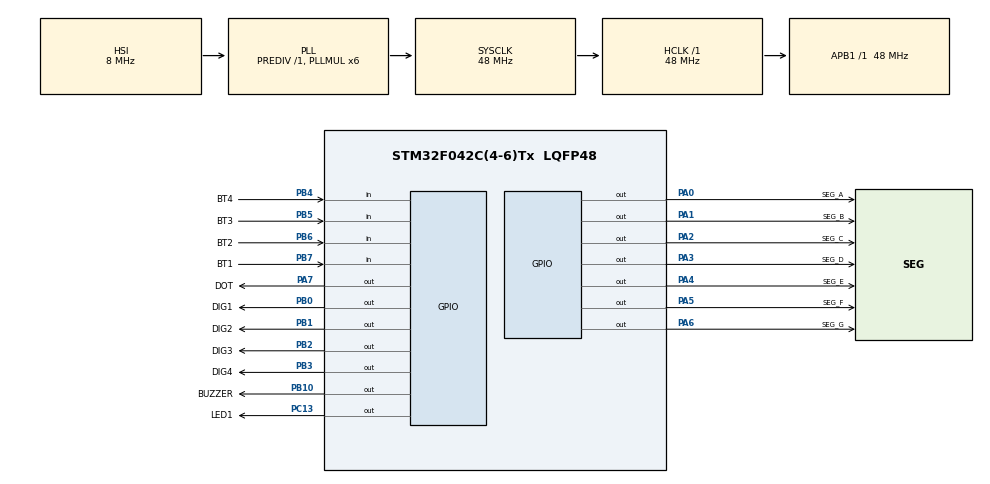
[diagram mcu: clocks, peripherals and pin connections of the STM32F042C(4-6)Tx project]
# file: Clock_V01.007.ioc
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IWDG.Prescaler=IWDG_PRESCALER_8
Mcu.Family=STM32F0
Mcu.Name=STM32F042C(4-6)Tx
Mcu.Package=LQFP48
NVIC.RTC_IRQn=true\:0\:0\:false\:false\:true\:true\:true\:true
NVIC.TIM17_IRQn=true\:0\:0\:false\:false\:true\:true\:true\:true
NVIC.TIM2_IRQn=true\:0\:0\:false\:false\:true\:true\:true\:true
NVIC.TIM3_IRQn=true\:0\:0\:false\:false\:true\:true\:true\:true
PA0.GPIO_Label=SEG_A
PA0.Signal=GPIO_Output
PA1.GPIO_Label=SEG_B
PA1.Signal=GPIO_Output
PA13.Mode=Serial_Wire
PA13.Signal=SYS_SWDIO
PA14.Mode=Serial_Wire
PA14.Signal=SYS_SWCLK
PA2.GPIO_Label=SEG_C
PA2.Signal=GPIO_Output
PA3.GPIO_Label=SEG_D
PA3.Signal=GPIO_Output
PA4.GPIO_Label=SEG_E
PA4.Signal=GPIO_Output
PA5.GPIO_Label=SEG_F
PA5.Signal=GPIO_Output
PA6.GPIO_Label=SEG_G
PA6.Signal=GPIO_Output
PA7.GPIO_Label=DOT
PA7.Signal=GPIO_Output
PB0.GPIO_Label=DIG1
PB0.Signal=GPIO_Output
PB1.GPIO_Label=DIG2
PB1.Signal=GPIO_Output
PB10.GPIO_Label=BUZZER
PB10.PinState=GPIO_PIN_SET
PB10.Signal=GPIO_Output
PB2.GPIO_Label=DIG3
PB2.Signal=GPIO_Output
PB3.GPIO_Label=DIG4
PB3.Signal=GPIO_Output
PB4.GPIO_Label=BT4
PB4.Signal=GPIO_Input
PB5.GPIO_Label=BT3
PB5.Signal=GPIO_Input
PB6.GPIO_Label=BT2
PB6.Signal=GPIO_Input
PB7.GPIO_Label=BT1
PB7.Signal=GPIO_Input
PC13.GPIO_Label=LED1
PC13.Signal=GPIO_Output
PC14OSC32_IN.Mode=LSE-External-Oscillator
PC14OSC32_IN.Signal=RCC_OSC32_IN
PC15OSC32_OUT.Mode=LSE-External-Oscillator
PC15OSC32_OUT.Signal=RCC_OSC32_OUT
PF0-OSC_IN.Mode=HSE-External-Oscillator
PF0-OSC_IN.Signal=RCC_OSC_IN
PF1-OSC_OUT.Mode=HSE-External-Oscillator
PF1-OSC_OUT.Signal=RCC_OSC_OUT
ProjectManager.HeapSize=0x200
ProjectManager.StackSize=0x400
ProjectManager.TargetToolchain=STM32CubeIDE
RCC.AHBFreq_Value=48000000
RCC.APB1Freq_Value=48000000
RCC.APB1TimFreq_Value=48000000
RCC.HCLKFreq_Value=48000000
RCC.HSE_VALUE=32000000
RCC.PLLMUL=RCC_PLL_MUL6
RCC.RTCClockSelection=RCC_RTCCLKSOURCE_LSE
RCC.SYSCLKFreq_VALUE=48000000
RCC.SYSCLKSource=RCC_SYSCLKSOURCE_PLLCLK
RTC.Alarm-Alarm\ A=RTC_ALARM_A
RTC.AlarmDateWeekDaySel-Alarm\ A=RTC_ALARMDATEWEEKDAYSEL_WEEKDAY
TIM17.Period=63999
TIM17.Prescaler=11249
TIM2.AutoReloadPreload=TIM_AUTORELOAD_PRELOAD_ENABLE
TIM2.Period=47999
TIM2.Prescaler=1
TIM3.Period=63999
TIM3.Prescaler=74
VP_IWDG_VS_IWDG.Mode=IWDG_Activate
VP_RTC_VS_RTC_Activate.Mode=RTC_Enabled
VP_RTC_VS_RTC_Alarm_A_Intern.Mode=Alarm A
VP_RTC_VS_RTC_Calendar.Mode=RTC_Calendar
VP_TIM17_VS_ClockSourceINT.Mode=Enable_Timer
VP_TIM2_VS_ClockSourceINT.Mode=Internal
VP_TIM3_VS_ClockSourceINT.Mode=Internal
board=custom

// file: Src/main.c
/* USER CODE BEGIN Header */
/**
  ******************************************************************************
  * @file           : main.c
  * @brief          : Main program body
  ******************************************************************************
  * @attention
  *
  * Copyright (c) 2022 STMicroelectronics.
  * All rights reserved.
  *
  * This software is licensed under terms that can be found in the LICENSE file
  * in the root directory of this software component.
  * If no LICENSE file comes with this software, it is provided AS-IS.
  *
  ******************************************************************************
  */
/* USER CODE END Header */
#include "main.h"

/* USER CODE BEGIN Includes */
#include "Display.h"
#include "Menu.h"
#include "stm32fxxx_hal.h"
#include "defines.h"
#include "tm_stm32_delay.h"
#include "tm_stm32_onewire.h"
#include "tm_stm32_ds18b20.h"
/* USER CODE END Includes */

IWDG_HandleTypeDef hiwdg;

RTC_HandleTypeDef hrtc;

TIM_HandleTypeDef htim2;
TIM_HandleTypeDef htim3;
TIM_HandleTypeDef htim17;

/* USER CODE BEGIN PV */
uint8_t cseg = 0;					//segment counter
uint8_t ctl = 0;					//the ctl counter is used for the button capture function
uint8_t cbl = 0;					//counter for display flashing during adjustment
uint16_t cw	= 0;					//counter to turn off the buzzer after 60 seconds
uint8_t cp = 0;						//beep interrupt counter
uint8_t blik = 0;					//display flashing variable 0 - does not flash, 1 - flashes
uint8_t wrt = 0;					//write values to RTC
uint8_t br;							//auxiliary variable at bright
uint8_t tlac = 0;					//button value
uint8_t fl = 0;						//flag when calling a function for DS18B20
uint8_t DS_ROM[8];					//here is written ROM from DS18B20
float temper = 0;					//measured temperature
int *buzzer;						//pointer pointing to flagbuzzer
int flagbuzzer = OFF;				//if is 0 buzzer is off
RTC_TimeTypeDef sttime;				//structures for the RTC time
RTC_DateTypeDef stdate;				//structures for the RTC date
RTC_AlarmTypeDef stalarm;			//structures for the RTC alarm A
TM_OneWire_t OneWire1;				//structures for OneWire
ClockTypeDef Clock;					//structures for Alarm

/* USER CODE END PV */

void SystemClock_Config(void);
static void MX_GPIO_Init(void);
static void MX_TIM17_Init(void);
static void MX_TIM3_Init(void);
static void MX_TIM2_Init(void);
static void MX_RTC_Init(void);
static void MX_IWDG_Init(void);

int main(void)
{

  /* MCU Configuration--------------------------------------------------------*/

  /* Reset of all peripherals, Initializes the Flash interface and the Systick. */
  HAL_Init();

  /* Configure the system clock */
  SystemClock_Config();

  /* Initialize all configured peripherals */
  MX_GPIO_Init();
  MX_TIM17_Init();
  MX_TIM3_Init();
  MX_TIM2_Init();
  MX_RTC_Init();
  MX_IWDG_Init();
  /* USER CODE BEGIN 2 */
  buzzer = &flagbuzzer;
  *buzzer = OFF;
  // Test if Buzzer, test-LED and all Display Segmets are OK
 /* HAL_GPIO_WritePin(BUZZER_GPIO_Port, BUZZER_Pin, GPIO_PIN_RESET);		//switch on the buzzer
    HAL_GPIO_WritePin(LED1_GPIO_Port, LED1_Pin, GPIO_PIN_SET);				//switch on the test LED
    HAL_GPIO_WritePin(SEG_A_GPIO_Port, SEG_A_Pin, GPIO_PIN_RESET);			//switch on the Display Segments
    HAL_GPIO_WritePin(SEG_B_GPIO_Port, SEG_B_Pin, GPIO_PIN_RESET);
    HAL_GPIO_WritePin(SEG_C_GPIO_Port, SEG_C_Pin, GPIO_PIN_RESET);
    HAL_GPIO_WritePin(SEG_D_GPIO_Port, SEG_D_Pin, GPIO_PIN_RESET);
    HAL_GPIO_WritePin(SEG_E_GPIO_Port, SEG_E_Pin, GPIO_PIN_RESET);
    HAL_GPIO_WritePin(SEG_F_GPIO_Port, SEG_F_Pin, GPIO_PIN_RESET);
    HAL_GPIO_WritePin(SEG_G_GPIO_Port, SEG_G_Pin, GPIO_PIN_RESET);
    HAL_GPIO_WritePin(DOT_GPIO_Port, DOT_Pin, GPIO_PIN_RESET);
    HAL_GPIO_WritePin(DIG1_GPIO_Port, DIG1_Pin, GPIO_PIN_RESET);
    HAL_GPIO_WritePin(DIG2_GPIO_Port, DIG2_Pin, GPIO_PIN_RESET);
    HAL_GPIO_WritePin(DIG3_GPIO_Port, DIG3_Pin, GPIO_PIN_RESET);
    HAL_GPIO_WritePin(DIG4_GPIO_Port, DIG4_Pin, GPIO_PIN_RESET);*/

  TM_DELAY_Init();													//delay initialization
  TM_OneWire_Init(&OneWire1, GPIOB, GPIO_Pin_11);					//OneWire bus initialization
  if (TM_OneWire_First(&OneWire1)) {								//if there is only one device on the bus, find out its ROM
	  TM_OneWire_GetFullROM(&OneWire1, DS_ROM);
  }
  if (TM_DS18B20_Is(DS_ROM)) {										//if is DS18B20 on the bus
	  TM_DS18B20_Start(&OneWire1, DS_ROM);							//start temperature measurement
  }

  Clock.alarmx = HAL_RTCEx_BKUPRead(&hrtc, RTC_BKP_DR1);			//variables from RAM
  Clock.calibrationx = HAL_RTCEx_BKUPRead(&hrtc, RTC_BKP_DR2);
  Clock.brightx = HAL_RTCEx_BKUPRead(&hrtc, RTC_BKP_DR3);
  if(!Clock.alarmx)													//if the alarm is off, deactivate it
  {
	  if (HAL_RTC_DeactivateAlarm(&hrtc, RTC_ALARM_A) != HAL_OK)
	  {
		  Error_Handler();
	  }
  }
  else																//if the alarm is on, activate it
  {
	  if (HAL_RTC_GetAlarm(&hrtc, &stalarm, RTC_ALARM_A, RTC_FORMAT_BIN) != HAL_OK)	//read ALARM A from RTC
	  	{
	  		Error_Handler();
	  	}
	  if (HAL_RTC_SetAlarm_IT(&hrtc, &stalarm, RTC_FORMAT_BIN) != HAL_OK)			//write ALARM A to the RTC and enable the interrupt
	  	{
	  		Error_Handler();
	  	}
  }
  HAL_TIM_Base_Start_IT(&htim2);		//Timer 2 initialization
  HAL_TIM_Base_Start_IT(&htim3);		//Timer 3 initialization
  HAL_TIM_Base_Start_IT(&htim17);		//Timer 17 initialization
  /* USER CODE END 2 */

  /* Infinite loop */
  /* USER CODE BEGIN WHILE */
  while (1)
  {
	  if(cbl<5) HAL_GPIO_WritePin(LED1_GPIO_Port, LED1_Pin, GPIO_PIN_RESET);	//Test LED flashing
	  else HAL_GPIO_WritePin(LED1_GPIO_Port, LED1_Pin, GPIO_PIN_SET);
    /* USER CODE END WHILE */

  }
}

void SystemClock_Config(void)
{
  RCC_OscInitTypeDef RCC_OscInitStruct = {0};
  RCC_ClkInitTypeDef RCC_ClkInitStruct = {0};
  RCC_PeriphCLKInitTypeDef PeriphClkInit = {0};

  /** Configure LSE Drive Capability
  */
  HAL_PWR_EnableBkUpAccess();
  __HAL_RCC_LSEDRIVE_CONFIG(RCC_LSEDRIVE_HIGH);

  /** Initializes the RCC Oscillators according to the specified parameters
  * in the RCC_OscInitTypeDef structure.
  */
  RCC_OscInitStruct.OscillatorType = RCC_OSCILLATORTYPE_HSI|RCC_OSCILLATORTYPE_LSI
                              |RCC_OSCILLATORTYPE_LSE;
  RCC_OscInitStruct.LSEState = RCC_LSE_ON;
  RCC_OscInitStruct.HSIState = RCC_HSI_ON;
  RCC_OscInitStruct.HSICalibrationValue = RCC_HSICALIBRATION_DEFAULT;
  RCC_OscInitStruct.LSIState = RCC_LSI_ON;
  RCC_OscInitStruct.PLL.PLLState = RCC_PLL_ON;
  RCC_OscInitStruct.PLL.PLLSource = RCC_PLLSOURCE_HSI;
  RCC_OscInitStruct.PLL.PLLMUL = RCC_PLL_MUL6;
  RCC_OscInitStruct.PLL.PREDIV = RCC_PREDIV_DIV1;
  if (HAL_RCC_OscConfig(&RCC_OscInitStruct) != HAL_OK)
  {
    Error_Handler();
  }

  /** Initializes the CPU, AHB and APB buses clocks
  */
  RCC_ClkInitStruct.ClockType = RCC_CLOCKTYPE_HCLK|RCC_CLOCKTYPE_SYSCLK
                              |RCC_CLOCKTYPE_PCLK1;
  RCC_ClkInitStruct.SYSCLKSource = RCC_SYSCLKSOURCE_PLLCLK;
  RCC_ClkInitStruct.AHBCLKDivider = RCC_SYSCLK_DIV1;
  RCC_ClkInitStruct.APB1CLKDivider = RCC_HCLK_DIV1;

  if (HAL_RCC_ClockConfig(&RCC_ClkInitStruct, FLASH_LATENCY_1) != HAL_OK)
  {
    Error_Handler();
  }
  PeriphClkInit.PeriphClockSelection = RCC_PERIPHCLK_RTC;
  PeriphClkInit.RTCClockSelection = RCC_RTCCLKSOURCE_LSE;
  if (HAL_RCCEx_PeriphCLKConfig(&PeriphClkInit) != HAL_OK)
  {
    Error_Handler();
  }
}

static void MX_IWDG_Init(void)
{

  hiwdg.Instance = IWDG;
  hiwdg.Init.Prescaler = IWDG_PRESCALER_8;
  hiwdg.Init.Window = 4095;
  hiwdg.Init.Reload = 4095;
  if (HAL_IWDG_Init(&hiwdg) != HAL_OK)
  {
    Error_Handler();
  }

}

static void MX_RTC_Init(void)
{

  RTC_TimeTypeDef sTime = {0};
  RTC_DateTypeDef sDate = {0};
  RTC_AlarmTypeDef sAlarm = {0};

  /** Initialize RTC Only
  */
  hrtc.Instance = RTC;
  hrtc.Init.HourFormat = RTC_HOURFORMAT_24;
  hrtc.Init.AsynchPrediv = 127;
  hrtc.Init.SynchPrediv = 255;
  hrtc.Init.OutPut = RTC_OUTPUT_DISABLE;
  hrtc.Init.OutPutPolarity = RTC_OUTPUT_POLARITY_HIGH;
  hrtc.Init.OutPutType = RTC_OUTPUT_TYPE_OPENDRAIN;
  if (HAL_RTC_Init(&hrtc) != HAL_OK)
  {
    Error_Handler();
  }

  /* USER CODE BEGIN Check_RTC_BKUP */
  if(HAL_RTCEx_BKUPRead(&hrtc, RTC_BKP_DR0) != 0x32F2){
  /* USER CODE END Check_RTC_BKUP */

  /** Initialize RTC and set the Time and Date
  */
  sTime.Hours = 0x0;
  sTime.Minutes = 0x0;
  sTime.Seconds = 0x0;
  sTime.DayLightSaving = RTC_DAYLIGHTSAVING_NONE;
  sTime.StoreOperation = RTC_STOREOPERATION_RESET;
  if (HAL_RTC_SetTime(&hrtc, &sTime, RTC_FORMAT_BCD) != HAL_OK)
  {
    Error_Handler();
  }
  sDate.WeekDay = RTC_WEEKDAY_MONDAY;
  sDate.Month = RTC_MONTH_JANUARY;
  sDate.Date = 0x1;
  sDate.Year = 0x0;

  if (HAL_RTC_SetDate(&hrtc, &sDate, RTC_FORMAT_BCD) != HAL_OK)
  {
    Error_Handler();
  }

  /** Enable the Alarm A
  */
  sAlarm.AlarmTime.Hours = 0x0;
  sAlarm.AlarmTime.Minutes = 0x0;
  sAlarm.AlarmTime.Seconds = 0x0;
  sAlarm.AlarmTime.SubSeconds = 0x0;
  sAlarm.AlarmTime.DayLightSaving = RTC_DAYLIGHTSAVING_NONE;
  sAlarm.AlarmTime.StoreOperation = RTC_STOREOPERATION_RESET;
  sAlarm.AlarmMask = RTC_ALARMMASK_NONE;
  sAlarm.AlarmSubSecondMask = RTC_ALARMSUBSECONDMASK_ALL;
  sAlarm.AlarmDateWeekDaySel = RTC_ALARMDATEWEEKDAYSEL_WEEKDAY;
  sAlarm.AlarmDateWeekDay = 1;
  sAlarm.Alarm = RTC_ALARM_A;
  if (HAL_RTC_SetAlarm_IT(&hrtc, &sAlarm, RTC_FORMAT_BCD) != HAL_OK)
  {
    Error_Handler();
  }
  /* USER CODE BEGIN RTC_Init 2 */
  HAL_RTCEx_BKUPWrite(&hrtc,RTC_BKP_DR0,0x32F2);
  }
  /* USER CODE END RTC_Init 2 */

}

static void MX_TIM2_Init(void)
{

  TIM_ClockConfigTypeDef sClockSourceConfig = {0};
  TIM_MasterConfigTypeDef sMasterConfig = {0};

  /* USER CODE BEGIN TIM2_Init 1 */
  //Timer 2 = 2ms
  /* USER CODE END TIM2_Init 1 */
  htim2.Instance = TIM2;
  htim2.Init.Prescaler = 1;
  htim2.Init.CounterMode = TIM_COUNTERMODE_UP;
  htim2.Init.Period = 47999;
  htim2.Init.ClockDivision = TIM_CLOCKDIVISION_DIV1;
  htim2.Init.AutoReloadPreload = TIM_AUTORELOAD_PRELOAD_ENABLE;
  if (HAL_TIM_Base_Init(&htim2) != HAL_OK)
  {
    Error_Handler();
  }
  sClockSourceConfig.ClockSource = TIM_CLOCKSOURCE_INTERNAL;
  if (HAL_TIM_ConfigClockSource(&htim2, &sClockSourceConfig) != HAL_OK)
  {
    Error_Handler();
  }
  sMasterConfig.MasterOutputTrigger = TIM_TRGO_RESET;
  sMasterConfig.MasterSlaveMode = TIM_MASTERSLAVEMODE_DISABLE;
  if (HAL_TIMEx_MasterConfigSynchronization(&htim2, &sMasterConfig) != HAL_OK)
  {
    Error_Handler();
  }

}

static void MX_TIM3_Init(void)
{

  TIM_ClockConfigTypeDef sClockSourceConfig = {0};
  TIM_MasterConfigTypeDef sMasterConfig = {0};

  /* USER CODE BEGIN TIM3_Init 1 */
  //Timer 3 = 100ms
  /* USER CODE END TIM3_Init 1 */
  htim3.Instance = TIM3;
  htim3.Init.Prescaler = 74;
  htim3.Init.CounterMode = TIM_COUNTERMODE_UP;
  htim3.Init.Period = 63999;
  htim3.Init.ClockDivision = TIM_CLOCKDIVISION_DIV1;
  htim3.Init.AutoReloadPreload = TIM_AUTORELOAD_PRELOAD_DISABLE;
  if (HAL_TIM_Base_Init(&htim3) != HAL_OK)
  {
    Error_Handler();
  }
  sClockSourceConfig.ClockSource = TIM_CLOCKSOURCE_INTERNAL;
  if (HAL_TIM_ConfigClockSource(&htim3, &sClockSourceConfig) != HAL_OK)
  {
    Error_Handler();
  }
  sMasterConfig.MasterOutputTrigger = TIM_TRGO_RESET;
  sMasterConfig.MasterSlaveMode = TIM_MASTERSLAVEMODE_DISABLE;
  if (HAL_TIMEx_MasterConfigSynchronization(&htim3, &sMasterConfig) != HAL_OK)
  {
    Error_Handler();
  }

}

static void MX_TIM17_Init(void)
{

  /* USER CODE BEGIN TIM17_Init 1 */
  //Timer 17 = 15sec
  /* USER CODE END TIM17_Init 1 */
  htim17.Instance = TIM17;
  htim17.Init.Prescaler = 11249;
  htim17.Init.CounterMode = TIM_COUNTERMODE_UP;
  htim17.Init.Period = 63999;
  htim17.Init.ClockDivision = TIM_CLOCKDIVISION_DIV1;
  htim17.Init.RepetitionCounter = 0;
  htim17.Init.AutoReloadPreload = TIM_AUTORELOAD_PRELOAD_DISABLE;
  if (HAL_TIM_Base_Init(&htim17) != HAL_OK)
  {
    Error_Handler();
  }

}

static void MX_GPIO_Init(void)
{
  GPIO_InitTypeDef GPIO_InitStruct = {0};

  /* GPIO Ports Clock Enable */
  __HAL_RCC_GPIOC_CLK_ENABLE();
  __HAL_RCC_GPIOF_CLK_ENABLE();
  __HAL_RCC_GPIOA_CLK_ENABLE();
  __HAL_RCC_GPIOB_CLK_ENABLE();

  /*Configure GPIO pin Output Level */
  HAL_GPIO_WritePin(LED1_GPIO_Port, LED1_Pin, GPIO_PIN_RESET);

  /*Configure GPIO pin Output Level */
  HAL_GPIO_WritePin(GPIOA, SEG_A_Pin|SEG_B_Pin|SEG_C_Pin|SEG_D_Pin
                          |SEG_E_Pin|SEG_F_Pin|SEG_G_Pin|DOT_Pin, GPIO_PIN_RESET);

  /*Configure GPIO pin Output Level */
  HAL_GPIO_WritePin(GPIOB, DIG1_Pin|DIG2_Pin|DIG3_Pin|DIG4_Pin, GPIO_PIN_RESET);

  /*Configure GPIO pin Output Level */
  HAL_GPIO_WritePin(BUZZER_GPIO_Port, BUZZER_Pin, GPIO_PIN_SET);

  /*Configure GPIO pin : LED1_Pin */
  GPIO_InitStruct.Pin = LED1_Pin;
  GPIO_InitStruct.Mode = GPIO_MODE_OUTPUT_PP;
  GPIO_InitStruct.Pull = GPIO_NOPULL;
  GPIO_InitStruct.Speed = GPIO_SPEED_FREQ_LOW;
  HAL_GPIO_Init(LED1_GPIO_Port, &GPIO_InitStruct);

  /*Configure GPIO pins : SEG_A_Pin SEG_B_Pin SEG_C_Pin SEG_D_Pin
                           SEG_E_Pin SEG_F_Pin SEG_G_Pin DOT_Pin */
  GPIO_InitStruct.Pin = SEG_A_Pin|SEG_B_Pin|SEG_C_Pin|SEG_D_Pin
                          |SEG_E_Pin|SEG_F_Pin|SEG_G_Pin|DOT_Pin;
  GPIO_InitStruct.Mode = GPIO_MODE_OUTPUT_PP;
  GPIO_InitStruct.Pull = GPIO_NOPULL;
  GPIO_InitStruct.Speed = GPIO_SPEED_FREQ_LOW;
  HAL_GPIO_Init(GPIOA, &GPIO_InitStruct);

  /*Configure GPIO pins : DIG1_Pin DIG2_Pin DIG3_Pin BUZZER_Pin
                           DIG4_Pin */
  GPIO_InitStruct.Pin = DIG1_Pin|DIG2_Pin|DIG3_Pin|BUZZER_Pin
                          |DIG4_Pin;
  GPIO_InitStruct.Mode = GPIO_MODE_OUTPUT_PP;
  GPIO_InitStruct.Pull = GPIO_NOPULL;
  GPIO_InitStruct.Speed = GPIO_SPEED_FREQ_LOW;
  HAL_GPIO_Init(GPIOB, &GPIO_InitStruct);

  /*Configure GPIO pins : BT4_Pin BT3_Pin BT2_Pin BT1_Pin */
  GPIO_InitStruct.Pin = BT4_Pin|BT3_Pin|BT2_Pin|BT1_Pin;
  GPIO_InitStruct.Mode = GPIO_MODE_INPUT;
  GPIO_InitStruct.Pull = GPIO_NOPULL;
  HAL_GPIO_Init(GPIOB, &GPIO_InitStruct);

}

/* USER CODE BEGIN 4 */
void HAL_TIM_PeriodElapsedCallback(TIM_HandleTypeDef *htim)		//this function is called if there is any interruption from Timer
{	if(htim->Instance == TIM17) {								//interrupt operation from TIM17 15s - reading DS18B20
		__disable_irq();										//any interruption disabled
		if (fl) {												//reading DS18B20, or a start command is sent
			if (TM_DS18B20_Is(DS_ROM)) {
				if (TM_DS18B20_AllDone(&OneWire1)) {
					fl = 0;
					TM_DS18B20_Read(&OneWire1, DS_ROM, &temper);//Temperature reading from DS18B20
					Clock.temperature= (uint8_t)temper;
				}
			}
		} else {
			TM_DS18B20_Start(&OneWire1, DS_ROM);				//a start command is sent for temperature conversion
			fl = 1;
		}
		__enable_irq();											//any interruption enabled
	}
	if(htim->Instance == TIM2)									//interrupt operation from TIM2 2ms - display data recovery
	{
		uint32_t contnew;						//the first segment is displayed first, then none one, then
												//the other then none one. Duration when none one segment is displayed
		contnew = (3276*(21-Clock.brightx));	//it is controlled by the variable brigh - which controls the brightness
		if (!(cseg%2))
		{
			funk_write_all(*(&Clock.displayx), Clock.ledx, (cseg/2), blik); 	//always show another segment
			__HAL_TIM_SET_AUTORELOAD(&htim2,contnew);							//change the citation TIM2 according to the brightness
		}
		else
		{
			funk_write_all(*(&Clock.displayx), Clock.ledx, 4, blik); 			//don't show anything
			__HAL_TIM_SET_AUTORELOAD(&htim2,34000);								//change counter 2 (interrupt after 1ms)
		}
		tlac = funk_press_button(ctl);											//find out which button was pressed
		if(cseg ==7) {
			cseg=0;																//increase the segment counter by one or reset it
		}
		else cseg++;
	}
	if(htim->Instance == TIM3)													//interrupt operation from TIM3 100ms
	{
		if (HAL_IWDG_Refresh(&hiwdg) != HAL_OK)									//Wachdog operation
		{
			Error_Handler();
		}
		wrt = funk_evaluate_button(&hrtc, tlac, buzzer, &Clock, &sttime, &stdate, &stalarm);	//the function for operating the buttons is called
		if(wrt==0)
		{
			HAL_RTC_GetTime(&hrtc, &sttime, RTC_FORMAT_BIN); 					//read time from RTC
			HAL_RTC_GetDate(&hrtc, &stdate, RTC_FORMAT_BIN); 					//read date from RTC - must be here without this time is read only once!!!!!!!
			funk_menu(&hrtc, &Clock, &sttime, &stdate, &stalarm);				//the menu function is called
		}
		if(cbl == 9)
		{
			cbl=0;
			if(wrt==0)HAL_RTC_GetAlarm(&hrtc, &stalarm, RTC_ALARM_A, RTC_FORMAT_BIN); //read ALARM A from RTC
		}
		else cbl++;																//counter for display flashing after 500ms when setting values
		blik = cbl/5;
		if(ctl == 20) ctl=1;													//counter for determining the length of pressing the button max 2s
		else ctl++;
		if(cw==0)
		{
			HAL_GPIO_WritePin(BUZZER_GPIO_Port, BUZZER_Pin, GPIO_PIN_SET);		//turn off the alarm after 60 seconds
			*buzzer = OFF;
		}
		else
		{
			cw--;
			if((cp < 10)&&(*buzzer == ON))HAL_GPIO_WritePin(BUZZER_GPIO_Port, BUZZER_Pin, GPIO_PIN_RESET);	//buzzer beeping
			else HAL_GPIO_WritePin(BUZZER_GPIO_Port, BUZZER_Pin, GPIO_PIN_SET);
			if(cp == 15) cp=0;
			else cp++;
		}
	}
}
void HAL_RTC_AlarmAEventCallback(RTC_HandleTypeDef *hrtc)
{
  /* Prevent unused argument(s) compilation warning */
	HAL_GPIO_WritePin(BUZZER_GPIO_Port, BUZZER_Pin, GPIO_PIN_RESET);				//switch on the buzzer
	*buzzer = ON;
	cw = 600;						//counter to turn off the buzzer after 60 seconds
	cp = 0;
  /* NOTE : This function should not be modified, when the callback is needed,
            the HAL_RTC_AlarmAEventCallback could be implemented in the user file
   */
}
/* USER CODE END 4 */

void Error_Handler(void)
{
  __disable_irq();
  while (1)
  {
  }
}
